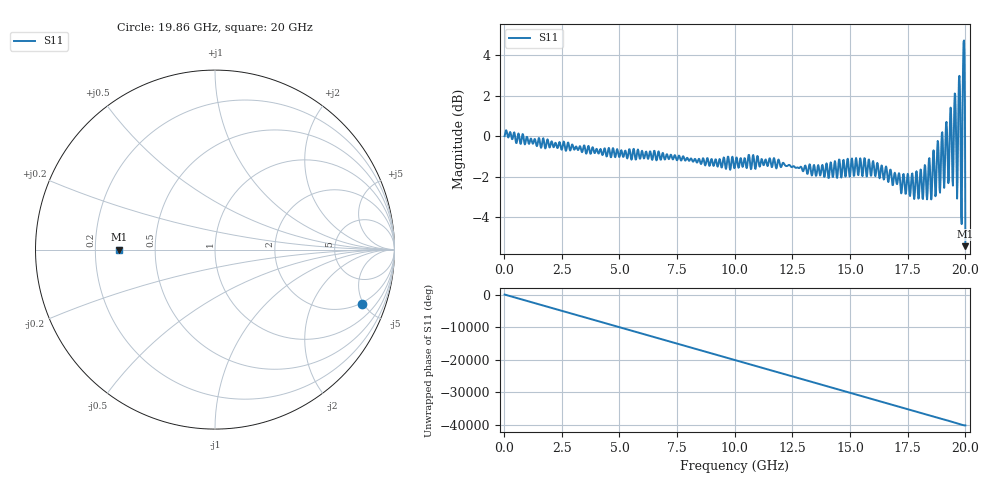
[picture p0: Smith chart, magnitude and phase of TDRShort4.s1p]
! File created by SignalIntegrity v1.3.3: Signal and Power Integrity Tools
! https://github.com/TeledyneLeCroy/SignalIntegrity
# MHz S MA R 50.0
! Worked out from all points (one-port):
!   1000 points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, 20 MHz to 20 GHz, reference 50 ohm
!   lowest |S11| = -5.4 dB at 20 GHz (marker M1), VSWR 3.31, Z = 15.1 + j2.78e-15 ohm
!   |S11| at or under -10 dB: nowhere
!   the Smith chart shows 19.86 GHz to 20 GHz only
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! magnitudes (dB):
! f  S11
! 20 MHz  0.0
! 2.52 GHz  -0.6
! 5.02 GHz  -1.0
! 7.52 GHz  -1.1
! 10.02 GHz  -1.4
! 12.52 GHz  -1.5
! 15.02 GHz  -1.7
! 16.08 GHz  -1.9
! 17.52 GHz  -1.9
! 18.24 GHz  -1.4
! 18.54 GHz  -2.9
! 18.62 GHz  -0.7
! 18.72 GHz  -2.8
! 18.8 GHz  -0.2
! 18.9 GHz  -2.8
! 19 GHz  0.2
! 19.08 GHz  -2.5
! 19.18 GHz  0.7
! 19.28 GHz  -2.1
! 19.36 GHz  1.4
! 19.46 GHz  -2.4
! 19.56 GHz  2.0
! 19.66 GHz  -2.2
! 19.74 GHz  3.0
! 19.86 GHz  -1.2
! 19.92 GHz  4.6
! 19.96 GHz  3.9
! 20 GHz  -5.4
